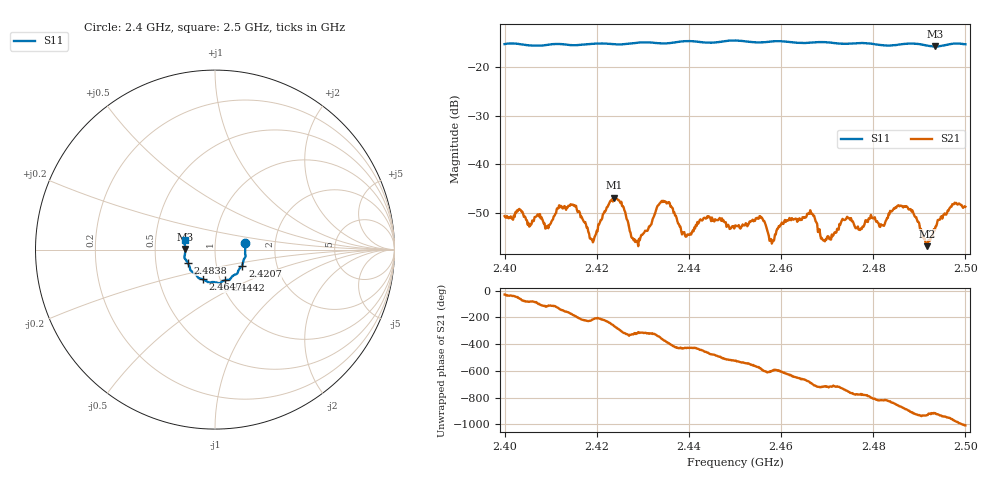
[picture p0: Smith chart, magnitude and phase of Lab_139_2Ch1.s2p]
# Hz S RI R 50
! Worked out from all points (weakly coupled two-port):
!   601 points, 2.4 GHz to 2.5 GHz, reference 50 ohm
!   highest |S21| = -46.91 dB at 2.4238 GHz (marker M1); lowest = -56.9 dB at 2.4917 GHz (marker M2)
!   lowest |S11| = -15.7 dB at 2.4935 GHz (marker M3), VSWR 1.39, Z = 35.9 + j0.156 ohm
!   |S11| at or under -10 dB: start of sweep to end of sweep
!   S12 and S22 are empty: the file has one direction only
!   S11 on the Smith chart (normalised r, x): 2.4 GHz: 1.40, +0.11; 2.4207 GHz: 1.33, -0.24; 2.4442 GHz: 1.05, -0.37; 2.4647 GHz: 0.83, -0.28; 2.4838 GHz: 0.73, -0.11; 2.5 GHz: 0.71, +0.08
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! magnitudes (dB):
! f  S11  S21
! 2.4 GHz  -15.2  -50.7
! 2.4167 GHz  -15.3  -50.8
! 2.419 GHz  -15.1  -55.5
! 2.4207 GHz  -15.1  -52.0
! 2.4238 GHz  -15.2  -46.9
! 2.4285 GHz  -14.9  -55.8
! 2.4333 GHz  -15.0  -48.4
! 2.4358 GHz  -15.0  -48.0
! 2.4397 GHz  -14.6  -54.5
! 2.4442 GHz  -14.9  -50.9
! 2.45 GHz  -14.4  -52.6
! 2.4555 GHz  -14.8  -50.7
! 2.458 GHz  -14.6  -56.4
! 2.4647 GHz  -15.0  -50.9
! 2.4667 GHz  -14.9  -50.1
! 2.4693 GHz  -14.8  -55.7
! 2.4833 GHz  -15.5  -50.2
! 2.4838 GHz  -15.5  -49.7
! 2.488 GHz  -15.1  -49.2
! 2.4917 GHz  -15.5  -56.9
! 2.4935 GHz  -15.7  -52.8
! 2.5 GHz  -15.2  -48.8
